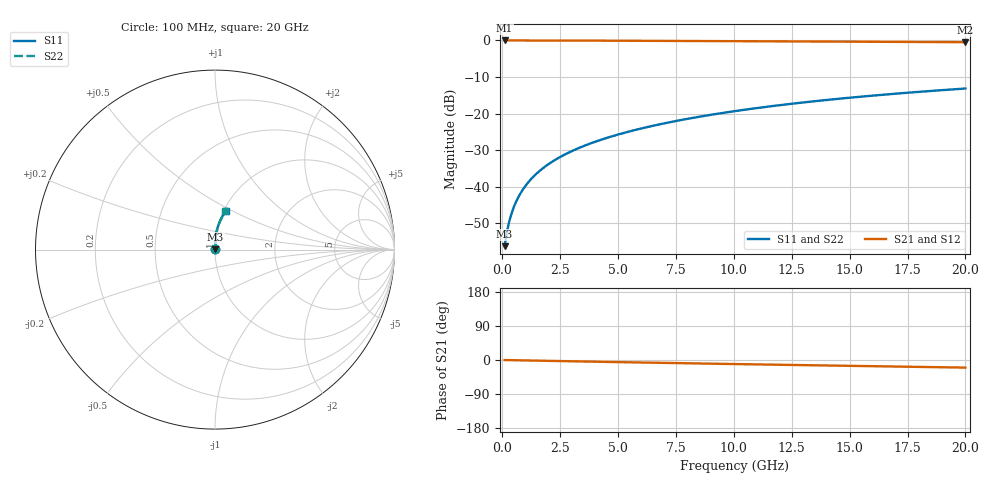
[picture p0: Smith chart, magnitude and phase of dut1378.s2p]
! Touchstone file exported from HFSS 2024.1.0
!  File:  C:/UserFiles/LocalFiles/RDL_TSV_Batchsim/temp_RDL_top_1378_1780367220.aedt
!  Generated:  10:29:16 AM Jun  2, 2026
!  Design:  RDL_top
!  Project:  temp_RDL_top_1378_1780367220
!  Setup:  Setup1
!  Solution:  Sweep
! Variables:
!  dtsv = 10.80580581um
!  hbump = 3um
!  htsv = 92.06um
!  ldown = 100um
!  lrdl = 251.72um
!  p = 40
!  p1 = 50.54um
!  rhole = 1um
!  t = 450um
!  tdown = 3.915915916um
!  trdl = 4.78um
!  wdown = 15.38538539um
!  wrdl = 19.59um
# GHz S MA R 50.000000
! Terminal data exported
! Port[1] = Box2_T1
! Port[2] = Box2_T2
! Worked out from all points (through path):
!   200 points, 100 MHz to 20 GHz, reference 50 ohm
!   highest |S21| = -0.01 dB at 100 MHz (marker M1); lowest = -0.5 dB at 20 GHz (marker M2)
!   group delay of S21, straight-line fit = 2.76 ps
!   lowest |S11| = -56.2 dB at 100 MHz (marker M3), VSWR 1.00, Z = 50.1 + j0.109 ohm
!   |S11| at or under -10 dB: start of sweep to end of sweep
!   |S22| runs from -56.2 to -13.1 dB; largest |S21 - S12| = 8e-15
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0.1  0.001547 44.7  0.9989 -0.1  0.9989 -0.1  0.001547 44.7
! Gamma 0 0 0 0
! Port Impedance 50 0 50 0
0.2  0.002423 61.6  0.9988 -0.2  0.9988 -0.2  0.002423 61.6
0.3  0.003366 69.2  0.9988 -0.4  0.9988 -0.4  0.003366 69.2
0.4  0.004331 73.6  0.9987 -0.5  0.9987 -0.5  0.004331 73.6
0.5  0.005309 76.5  0.9986 -0.6  0.9986 -0.6  0.005309 76.5
0.6  0.006296 78.5  0.9986 -0.7  0.9986 -0.7  0.006296 78.5
0.8  0.00829 81.1  0.9984 -0.9  0.9984 -0.9  0.00829 81.1
1.1  0.01131 83.3  0.9982 -1.3  0.9982 -1.3  0.01131 83.3
1.5  0.01536 84.9  0.9978 -1.7  0.9978 -1.7  0.01536 84.9
1.8  0.01841 85.6  0.9975 -2.1  0.9975 -2.1  0.01841 85.6
2.1  0.02148 86.1  0.9971 -2.4  0.9971 -2.4  0.02148 86.1
2.7  0.02763 86.7  0.9961 -3.1  0.9961 -3.1  0.02763 86.7
3.5  0.03593 87.0  0.9946 -4.0  0.9946 -4.0  0.03593 87.0
4.2  0.04328 87.2  0.993 -4.7  0.993 -4.7  0.04328 87.2
5  0.05181 87.1  0.9911 -5.6  0.9911 -5.6  0.05181 87.1
5.9  0.06156 86.9  0.9887 -6.5  0.9887 -6.5  0.06156 86.9
6.8  0.07148 86.5  0.9862 -7.5  0.9862 -7.5  0.07148 86.5
8.4  0.08946 85.6  0.9816 -9.1  0.9816 -9.1  0.08946 85.6
10.1  0.1089 84.3  0.9766 -10.8  0.9766 -10.8  0.1089 84.3
13.4  0.1467 81.2  0.9667 -13.9  0.9667 -13.9  0.1467 81.2
16.7  0.1841 77.9  0.9565 -17.0  0.9565 -17.0  0.1841 77.9
20  0.2203 74.6  0.9459 -20.1  0.9459 -20.1  0.2203 74.6
